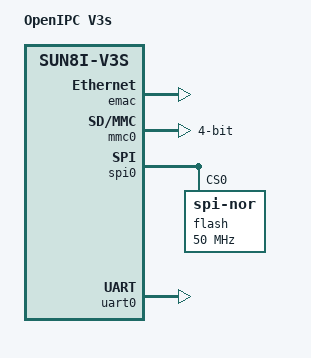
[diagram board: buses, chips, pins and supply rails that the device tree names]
// SPDX-License-Identifier: (GPL-2.0+ OR MIT)
/*
 * A V3s IP camera: console on UART0 (PB8/PB9), SPI NOR on SPI0 (PC0-PC3),
 * the SD card on MMC0 (PF0-PF5), the EMAC on the SoC's own PHY.
 */

/dts-v1/;

#include "sun8i-v3s.dtsi"

/ {
	model = "OpenIPC V3s";
	compatible = "openipc,v3s", "allwinner,sun8i-v3s";

	aliases {
		ethernet0 = &emac;
		serial0 = &uart0;
		spi0 = &spi0;
	};

	chosen {
		stdout-path = "serial0:115200n8";
	};
};

&emac {
	allwinner,leds-active-low;
	status = "okay";
};

&mmc0 {
	broken-cd;
	bus-width = <4>;
	status = "okay";
};

&spi0 {
	status = "okay";

	flash@0 {
		#address-cells = <1>;
		#size-cells = <1>;
		compatible = "jedec,spi-nor";
		reg = <0>;
		spi-max-frequency = <50000000>;
	};
};

&uart0 {
	pinctrl-0 = <&uart0_pb_pins>;
	pinctrl-names = "default";
	status = "okay";
};
